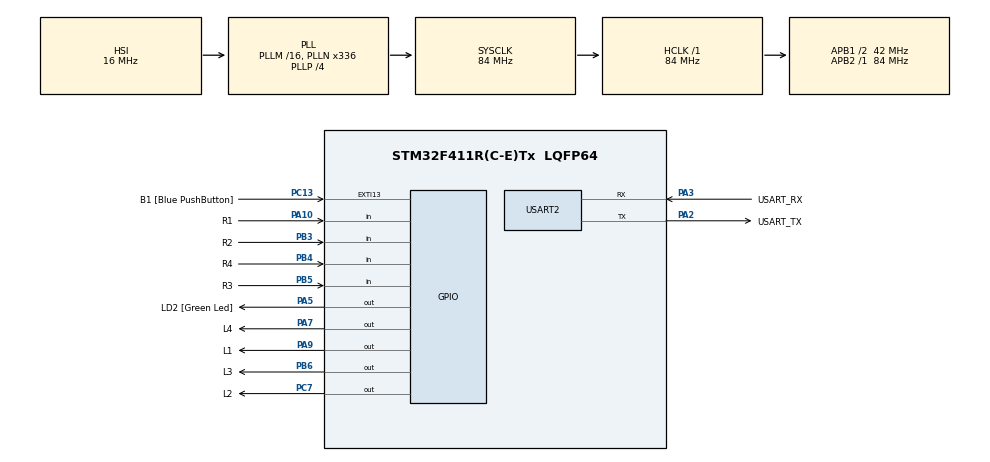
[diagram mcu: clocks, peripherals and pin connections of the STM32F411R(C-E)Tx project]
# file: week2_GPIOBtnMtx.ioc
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Mcu.Family=STM32F4
Mcu.Name=STM32F411R(C-E)Tx
Mcu.Package=LQFP64
NVIC.PriorityGroup=NVIC_PRIORITYGROUP_0
PA10.GPIO_Label=R1
PA10.GPIO_PuPd=GPIO_PULLUP
PA10.Signal=GPIO_Input
PA13.GPIO_Label=TMS
PA13.Signal=SYS_JTMS-SWDIO
PA14.GPIO_Label=TCK
PA14.Signal=SYS_JTCK-SWCLK
PA2.GPIO_Label=USART_TX
PA2.Mode=Asynchronous
PA2.Signal=USART2_TX
PA3.GPIO_Label=USART_RX
PA3.Mode=Asynchronous
PA3.Signal=USART2_RX
PA5.GPIO_Label=LD2 [Green Led]
PA5.Signal=GPIO_Output
PA7.GPIO_Label=L4
PA7.GPIO_ModeDefaultOutputPP=GPIO_MODE_OUTPUT_OD
PA7.GPIO_PuPd=GPIO_NOPULL
PA7.Signal=GPIO_Output
PA9.GPIO_Label=L1
PA9.GPIO_ModeDefaultOutputPP=GPIO_MODE_OUTPUT_OD
PA9.GPIO_PuPd=GPIO_NOPULL
PA9.Signal=GPIO_Output
PB3.GPIO_Label=R2
PB3.GPIO_PuPd=GPIO_PULLUP
PB3.Signal=GPIO_Input
PB4.GPIO_Label=R4
PB4.GPIO_PuPd=GPIO_PULLUP
PB4.Signal=GPIO_Input
PB5.GPIO_Label=R3
PB5.GPIO_PuPd=GPIO_PULLUP
PB5.Signal=GPIO_Input
PB6.GPIO_Label=L3
PB6.GPIO_ModeDefaultOutputPP=GPIO_MODE_OUTPUT_OD
PB6.GPIO_PuPd=GPIO_NOPULL
PB6.Signal=GPIO_Output
PC13-ANTI_TAMP.GPIO_Label=B1 [Blue PushButton]
PC13-ANTI_TAMP.GPIO_ModeDefaultEXTI=GPIO_MODE_IT_FALLING
PC13-ANTI_TAMP.Signal=GPXTI13
PC14-OSC32_IN.Mode=LSE-External-Oscillator
PC14-OSC32_IN.Signal=RCC_OSC32_IN
PC15-OSC32_OUT.Mode=LSE-External-Oscillator
PC15-OSC32_OUT.Signal=RCC_OSC32_OUT
PC7.GPIO_Label=L2
PC7.GPIO_ModeDefaultOutputPP=GPIO_MODE_OUTPUT_OD
PC7.GPIO_PuPd=GPIO_NOPULL
PC7.Signal=GPIO_Output
PH0\ -\ OSC_IN.Mode=HSE-External-Clock-Source
PH0\ -\ OSC_IN.Signal=RCC_OSC_IN
PH1\ -\ OSC_OUT.Mode=HSE-External-Clock-Source
PH1\ -\ OSC_OUT.Signal=RCC_OSC_OUT
ProjectManager.HeapSize=0x200
ProjectManager.StackSize=0x400
ProjectManager.TargetToolchain=STM32CubeIDE
RCC.48MHZClocksFreq_Value=84000000
RCC.AHBFreq_Value=84000000
RCC.APB1CLKDivider=RCC_HCLK_DIV2
RCC.APB1Freq_Value=42000000
RCC.APB1TimFreq_Value=84000000
RCC.APB2Freq_Value=84000000
RCC.APB2TimFreq_Value=84000000
RCC.CortexFreq_Value=84000000
RCC.FLatency-AdvancedSettings=FLASH_LATENCY_2
RCC.HCLKFreq_Value=84000000
RCC.HSE_VALUE=8000000
RCC.HSI_VALUE=16000000
RCC.PLLN=336
RCC.PLLP=RCC_PLLP_DIV4
RCC.SYSCLKFreq_VALUE=84000000
RCC.SYSCLKSource=RCC_SYSCLKSOURCE_PLLCLK
RCC.VCOOutputFreq_Value=336000000
USART2.VirtualMode=VM_ASYNC
board=NUCLEO-F411RE

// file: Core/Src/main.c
/* USER CODE BEGIN Header */
/**
  ******************************************************************************
  * @file           : main.c
  * @brief          : Main program body
  ******************************************************************************
  * @attention
  *
  * Copyright (c) 2022 STMicroelectronics.
  * All rights reserved.
  *
  * This software is licensed under terms that can be found in the LICENSE file
  * in the root directory of this software component.
  * If no LICENSE file comes with this software, it is provided AS-IS.
  *
  ******************************************************************************
  */
/* USER CODE END Header */
#include "main.h"

/* USER CODE BEGIN Includes */
#include <stdio.h>
#include <string.h>
/* USER CODE END Includes */

UART_HandleTypeDef huart2;

/* USER CODE BEGIN PV */
char TextUARTBuffer[100];

uint16_t BtnState = 0;
static uint64_t CodeCC = 0;
uint8_t DecoNum; // for debgg
static uint16_t counter = 0;
static uint16_t PeriodOfCnter = 100; // counter trigg& reset
static uint8_t RiseTgr = 0; // std_logic boolean
static uint8_t OkToggle = 0; // std_logic boolean

//////mega challenga
static uint64_t SaveCC = 63340500060;
/* USER CODE END PV */

void SystemClock_Config(void);
static void MX_GPIO_Init(void);
static void MX_USART2_UART_Init(void);
/* USER CODE BEGIN PFP */
void BtnMtxRd();
int DecoToNum(); // int
void CounterSet();
int ShiftTest(int x);
/* USER CODE END PFP */

int main(void)
{

  /* MCU Configuration--------------------------------------------------------*/

  /* Reset of all peripherals, Initializes the Flash interface and the Systick. */
  HAL_Init();

  /* Configure the system clock */
  SystemClock_Config();

  /* Initialize all configured peripherals */
  MX_GPIO_Init();
  MX_USART2_UART_Init();
  /* USER CODE BEGIN 2 */
  //// debug
  	sprintf(TextUARTBuffer," \r\n --------- BTNMTX ----------");
  	HAL_UART_Transmit(&huart2, (uint8_t*)TextUARTBuffer, strlen(TextUARTBuffer),10);
  /* USER CODE END 2 */

  /* Infinite loop */
  while (1)
  {

    /* USER CODE BEGIN 3 */
	CounterSet();
	BtnMtxRd();

	// Add number in CodeCC
	if(RiseTgr == 1 ){ //&& counter == PeriodOfCnter
		  DecoNum = DecoToNum(); // debgg
		  if ( 0 <= DecoNum && DecoNum <= 9){  // non number is unallow
			  //CodeCC = (CodeCC << 4) + DecoNum;  // hex algor
			  CodeCC = (CodeCC * 10) + DecoNum;  // dec algor
			  }
//		  sprintf(TextUARTBuffer,"\r\n K1 ");
//		  HAL_UART_Transmit(&huart2, (uint8_t*)TextUARTBuffer, strlen(TextUARTBuffer),10);
		  RiseTgr = 0;
		}

	// OkToggle
	if (ShiftTest(15) == 1){OkToggle = 1;}
	else if (RiseTgr == 1 && ShiftTest(15) == 0){OkToggle = 0;}
	else{OkToggle = OkToggle;}

	// detect code
	if (CodeCC == SaveCC && OkToggle == 1){
		  HAL_GPIO_WritePin(GPIOA, GPIO_PIN_5, GPIO_PIN_SET);
	  }
	else{HAL_GPIO_WritePin(GPIOA, GPIO_PIN_5, GPIO_PIN_RESET);}

		// Clear
	if( ShiftTest(3) == 1)
		{
		  CodeCC = 0x00;
		}
		// <x-- backspace
	if(ShiftTest(7) == 1 && RiseTgr == 1)
		{
		  //CodeCC = CodeCC >> 4 ; // hex algor
		  CodeCC = CodeCC / 10;  // dec algor
		  RiseTgr = 0;
		}
	// Change password
	if(ShiftTest(12) == 1 && RiseTgr == 1)
		{
		  SaveCC = CodeCC;
		  CodeCC = 0x00;
		  RiseTgr = 0;
		}
	} // end while

  /* USER CODE END 3 */
}

void SystemClock_Config(void)
{
  RCC_OscInitTypeDef RCC_OscInitStruct = {0};
  RCC_ClkInitTypeDef RCC_ClkInitStruct = {0};

  /** Configure the main internal regulator output voltage
  */
  __HAL_RCC_PWR_CLK_ENABLE();
  __HAL_PWR_VOLTAGESCALING_CONFIG(PWR_REGULATOR_VOLTAGE_SCALE1);
  /** Initializes the RCC Oscillators according to the specified parameters
  * in the RCC_OscInitTypeDef structure.
  */
  RCC_OscInitStruct.OscillatorType = RCC_OSCILLATORTYPE_HSI;
  RCC_OscInitStruct.HSIState = RCC_HSI_ON;
  RCC_OscInitStruct.HSICalibrationValue = RCC_HSICALIBRATION_DEFAULT;
  RCC_OscInitStruct.PLL.PLLState = RCC_PLL_ON;
  RCC_OscInitStruct.PLL.PLLSource = RCC_PLLSOURCE_HSI;
  RCC_OscInitStruct.PLL.PLLM = 16;
  RCC_OscInitStruct.PLL.PLLN = 336;
  RCC_OscInitStruct.PLL.PLLP = RCC_PLLP_DIV4;
  RCC_OscInitStruct.PLL.PLLQ = 4;
  if (HAL_RCC_OscConfig(&RCC_OscInitStruct) != HAL_OK)
  {
    Error_Handler();
  }
  /** Initializes the CPU, AHB and APB buses clocks
  */
  RCC_ClkInitStruct.ClockType = RCC_CLOCKTYPE_HCLK|RCC_CLOCKTYPE_SYSCLK
                              |RCC_CLOCKTYPE_PCLK1|RCC_CLOCKTYPE_PCLK2;
  RCC_ClkInitStruct.SYSCLKSource = RCC_SYSCLKSOURCE_PLLCLK;
  RCC_ClkInitStruct.AHBCLKDivider = RCC_SYSCLK_DIV1;
  RCC_ClkInitStruct.APB1CLKDivider = RCC_HCLK_DIV2;
  RCC_ClkInitStruct.APB2CLKDivider = RCC_HCLK_DIV1;

  if (HAL_RCC_ClockConfig(&RCC_ClkInitStruct, FLASH_LATENCY_2) != HAL_OK)
  {
    Error_Handler();
  }
}

static void MX_USART2_UART_Init(void)
{

  huart2.Instance = USART2;
  huart2.Init.BaudRate = 115200;
  huart2.Init.WordLength = UART_WORDLENGTH_8B;
  huart2.Init.StopBits = UART_STOPBITS_1;
  huart2.Init.Parity = UART_PARITY_NONE;
  huart2.Init.Mode = UART_MODE_TX_RX;
  huart2.Init.HwFlowCtl = UART_HWCONTROL_NONE;
  huart2.Init.OverSampling = UART_OVERSAMPLING_16;
  if (HAL_UART_Init(&huart2) != HAL_OK)
  {
    Error_Handler();
  }

}

static void MX_GPIO_Init(void)
{
  GPIO_InitTypeDef GPIO_InitStruct = {0};

  /* GPIO Ports Clock Enable */
  __HAL_RCC_GPIOC_CLK_ENABLE();
  __HAL_RCC_GPIOH_CLK_ENABLE();
  __HAL_RCC_GPIOA_CLK_ENABLE();
  __HAL_RCC_GPIOB_CLK_ENABLE();

  /*Configure GPIO pin Output Level */
  HAL_GPIO_WritePin(GPIOA, LD2_Pin|L4_Pin|L1_Pin, GPIO_PIN_RESET);

  /*Configure GPIO pin Output Level */
  HAL_GPIO_WritePin(L2_GPIO_Port, L2_Pin, GPIO_PIN_RESET);

  /*Configure GPIO pin Output Level */
  HAL_GPIO_WritePin(L3_GPIO_Port, L3_Pin, GPIO_PIN_RESET);

  /*Configure GPIO pin : B1_Pin */
  GPIO_InitStruct.Pin = B1_Pin;
  GPIO_InitStruct.Mode = GPIO_MODE_IT_FALLING;
  GPIO_InitStruct.Pull = GPIO_NOPULL;
  HAL_GPIO_Init(B1_GPIO_Port, &GPIO_InitStruct);

  /*Configure GPIO pin : LD2_Pin */
  GPIO_InitStruct.Pin = LD2_Pin;
  GPIO_InitStruct.Mode = GPIO_MODE_OUTPUT_PP;
  GPIO_InitStruct.Pull = GPIO_NOPULL;
  GPIO_InitStruct.Speed = GPIO_SPEED_FREQ_LOW;
  HAL_GPIO_Init(LD2_GPIO_Port, &GPIO_InitStruct);

  /*Configure GPIO pins : L4_Pin L1_Pin */
  GPIO_InitStruct.Pin = L4_Pin|L1_Pin;
  GPIO_InitStruct.Mode = GPIO_MODE_OUTPUT_OD;
  GPIO_InitStruct.Pull = GPIO_NOPULL;
  GPIO_InitStruct.Speed = GPIO_SPEED_FREQ_LOW;
  HAL_GPIO_Init(GPIOA, &GPIO_InitStruct);

  /*Configure GPIO pin : L2_Pin */
  GPIO_InitStruct.Pin = L2_Pin;
  GPIO_InitStruct.Mode = GPIO_MODE_OUTPUT_OD;
  GPIO_InitStruct.Pull = GPIO_NOPULL;
  GPIO_InitStruct.Speed = GPIO_SPEED_FREQ_LOW;
  HAL_GPIO_Init(L2_GPIO_Port, &GPIO_InitStruct);

  /*Configure GPIO pin : R1_Pin */
  GPIO_InitStruct.Pin = R1_Pin;
  GPIO_InitStruct.Mode = GPIO_MODE_INPUT;
  GPIO_InitStruct.Pull = GPIO_PULLUP;
  HAL_GPIO_Init(R1_GPIO_Port, &GPIO_InitStruct);

  /*Configure GPIO pins : R2_Pin R4_Pin R3_Pin */
  GPIO_InitStruct.Pin = R2_Pin|R4_Pin|R3_Pin;
  GPIO_InitStruct.Mode = GPIO_MODE_INPUT;
  GPIO_InitStruct.Pull = GPIO_PULLUP;
  HAL_GPIO_Init(GPIOB, &GPIO_InitStruct);

  /*Configure GPIO pin : L3_Pin */
  GPIO_InitStruct.Pin = L3_Pin;
  GPIO_InitStruct.Mode = GPIO_MODE_OUTPUT_OD;
  GPIO_InitStruct.Pull = GPIO_NOPULL;
  GPIO_InitStruct.Speed = GPIO_SPEED_FREQ_LOW;
  HAL_GPIO_Init(L3_GPIO_Port, &GPIO_InitStruct);

}

/* USER CODE BEGIN 4 */
/* ////  4x4 Matrix table numberpad
	7	8	9	Clr	|	0	1	2	3
	4	5	6	<x- |	4	5	6	7
	1	2	3	_	|	8	9	10	11
	_	0	_	ok 	|	12	13	14	15
*/
GPIO_TypeDef* BtnMtxPortR[4] = {R1_GPIO_Port,R2_GPIO_Port,R3_GPIO_Port,R4_GPIO_Port};
uint16_t BtnMtxPinR[4] = {R1_Pin,R2_Pin,R3_Pin,R4_Pin};

GPIO_TypeDef* BtnMtxPortL[4] = {L1_GPIO_Port,L2_GPIO_Port,L3_GPIO_Port,L4_GPIO_Port};
uint16_t BtnMtxPinL[4] = {L1_Pin,L2_Pin,L3_Pin,L4_Pin};
void BtnMtxRd(){// Read 4x4 Matrix button
	static uint32_t timestp = 0;
	static uint8_t CurntL = 0; // L that read L1 L2 L3 L4
	if(HAL_GetTick() - timestp >= 50){ //call every 100 m sec
	 timestp = HAL_GetTick(); // stamp time
	 for(int i = 0; i<4 ; i++){
		 // read R
		 if(HAL_GPIO_ReadPin(BtnMtxPortR[i], BtnMtxPinR[i])==GPIO_PIN_RESET){ // button pressed

			 BtnState |= 1 << (i+(CurntL*4)); //ex i = 3, L = 2 => 0b0000 0100 0000 0000
			 RiseTgr = 1;
		 }
		 else{
			 //// force 0 after unpressed 1 & x = x
			 BtnState &= ~(1 << (i+(CurntL*4)));
			 ////ex i =   0b 0100 0100 0110 0000
			 ////  ~a =   0b 1111 1011 1111 1011 // 0 & x = 0
			 //// ans =   0b 0100 0000 0110 0000
		 }
	 }
	  	 ////set CurrentL  L High//
	 HAL_GPIO_WritePin(BtnMtxPortL[CurntL], BtnMtxPinL[CurntL], GPIO_PIN_SET);
	 uint8_t nextL = (CurntL + 1) % 4; // % 4 prevent overflow
	 //// set next port Low, prepare to be read in next loop (open drain)
	 HAL_GPIO_WritePin(BtnMtxPortL[nextL], BtnMtxPinL[nextL], GPIO_PIN_RESET);
	 CurntL = nextL;
	}
}

//int DecoToNum()
//{
//	for(int j = 0;j < 14; j++){
//		int8_t Chkrr =( BtnState >> j )&0x01;
//
//		if(Chkrr == 1){
//			switch(j){
//			case 0:
//				return 7;
//			case 1:
//				return 8;
//			case 2:
//				return 9;
//			case 4:
//				return 4;
//			case 5:
//				return 5;
//			case 6:
//				return 6;
//			case 8:
//				return 1;
//			case 9:
//				return 2;
//			case 10:
//				return 3;
//			case 13:
//			default:
//				return 0;
//			case 15:// ok-> send wrong digit
//				return 555;
//			}
//		}
//	}
//	return 555;
//}

int DecoToNum() //// alter for UART OUT
{
	for(int j = 0;j < 16; j++){
		uint8_t Chkrr =(BtnState >> j )&0x01;

		if(Chkrr == 1){
			switch(j){
			case 0: sprintf(TextUARTBuffer,"\r\n K1 "); HAL_UART_Transmit(&huart2, (uint8_t*)TextUARTBuffer, strlen(TextUARTBuffer),10);
				return 7;
			case 1: sprintf(TextUARTBuffer,"\r\n K2 "); HAL_UART_Transmit(&huart2, (uint8_t*)TextUARTBuffer, strlen(TextUARTBuffer),10);
				return 8;
			case 2: sprintf(TextUARTBuffer,"\r\n K3 "); HAL_UART_Transmit(&huart2, (uint8_t*)TextUARTBuffer, strlen(TextUARTBuffer),10);
				return 9;
			case 3: sprintf(TextUARTBuffer,"\r\n K4 "); HAL_UART_Transmit(&huart2, (uint8_t*)TextUARTBuffer, strlen(TextUARTBuffer),10);
				return 555;
			case 4: sprintf(TextUARTBuffer,"\r\n K5 "); HAL_UART_Transmit(&huart2, (uint8_t*)TextUARTBuffer, strlen(TextUARTBuffer),10);
				return 4;
			case 5: sprintf(TextUARTBuffer,"\r\n K6 "); HAL_UART_Transmit(&huart2, (uint8_t*)TextUARTBuffer, strlen(TextUARTBuffer),10);
				return 5;
			case 6: sprintf(TextUARTBuffer,"\r\n K7 "); HAL_UART_Transmit(&huart2, (uint8_t*)TextUARTBuffer, strlen(TextUARTBuffer),10);
				return 6;
			case 7: sprintf(TextUARTBuffer,"\r\n K8 "); HAL_UART_Transmit(&huart2, (uint8_t*)TextUARTBuffer, strlen(TextUARTBuffer),10);
				return 555;
			case 8: sprintf(TextUARTBuffer,"\r\n K9 "); HAL_UART_Transmit(&huart2, (uint8_t*)TextUARTBuffer, strlen(TextUARTBuffer),10);
				return 1;
			case 9: sprintf(TextUARTBuffer,"\r\n K10 "); HAL_UART_Transmit(&huart2, (uint8_t*)TextUARTBuffer, strlen(TextUARTBuffer),10);
				return 2;
			case 10: sprintf(TextUARTBuffer,"\r\n K11 "); HAL_UART_Transmit(&huart2, (uint8_t*)TextUARTBuffer, strlen(TextUARTBuffer),10);
				return 3;
			case 11: sprintf(TextUARTBuffer,"\r\n K12 "); HAL_UART_Transmit(&huart2, (uint8_t*)TextUARTBuffer, strlen(TextUARTBuffer),10);
				return 555;
			case 12: sprintf(TextUARTBuffer,"\r\n K13 "); HAL_UART_Transmit(&huart2, (uint8_t*)TextUARTBuffer, strlen(TextUARTBuffer),10);
				return 555;
			case 13: sprintf(TextUARTBuffer,"\r\n K14 "); HAL_UART_Transmit(&huart2, (uint8_t*)TextUARTBuffer, strlen(TextUARTBuffer),10);
			default:
				return 0;
			case 14: sprintf(TextUARTBuffer,"\r\n K15 "); HAL_UART_Transmit(&huart2, (uint8_t*)TextUARTBuffer, strlen(TextUARTBuffer),10);
				return 555;
			case 15: sprintf(TextUARTBuffer,"\r\n K16 "); HAL_UART_Transmit(&huart2, (uint8_t*)TextUARTBuffer, strlen(TextUARTBuffer),10);
			// ok-> send wrong digit
				return 555;
			}
		}
	}
	return 555;
}

void CounterSet()
	{
	// counter circuit
	  static uint32_t timestp = 0;
	  //static uint32_t counter = 0;
	  if(HAL_GetTick() - timestp >= 1){ //every 1 m sec
		  timestp = HAL_GetTick(); // stamp time
		  if (counter >= PeriodOfCnter){
			  counter = 0;
		  }
		  else{counter++;}
	  }
	}

int ShiftTest(int x)
{
	return (BtnState >> x) & 0x01;
}
/////////////////////////////////////////////////////////////////////////////////////////////////////////////////////////////
/* USER CODE END 4 */

void Error_Handler(void)
{
  __disable_irq();
  while (1)
  {
  }
}
